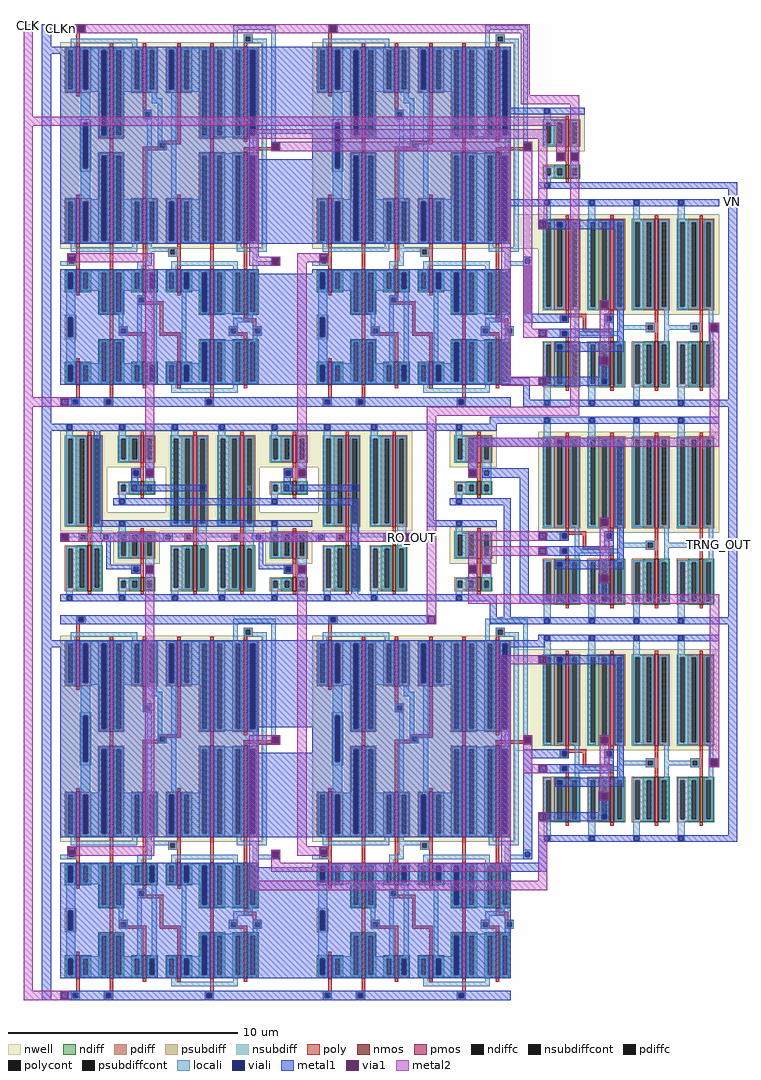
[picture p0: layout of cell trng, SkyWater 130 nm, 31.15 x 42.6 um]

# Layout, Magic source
magic
tech sky130A
<< nwell >>
rect 1170 2435 1210 2440
rect 1985 1965 2085 2125
rect 1985 1540 2085 1690
rect 1965 -651 2087 -210
<< poly >>
rect 70 2510 110 2520
rect 70 2490 80 2510
rect 100 2490 110 2510
rect 70 2480 110 2490
rect 1170 2510 1210 2520
rect 1170 2490 1180 2510
rect 1200 2490 1210 2510
rect 1170 2480 1210 2490
rect 70 2435 85 2480
rect 1170 2435 1185 2480
rect 2020 1255 2060 1465
rect 70 890 85 930
rect 1170 890 1185 930
rect 45 880 85 890
rect 45 860 55 880
rect 75 860 85 880
rect 45 850 85 860
rect 1145 880 1185 890
rect 1145 860 1155 880
rect 1175 860 1185 880
rect 1145 850 1185 860
rect 70 -70 110 -60
rect 70 -90 80 -70
rect 100 -90 110 -70
rect 70 -100 110 -90
rect 1170 -70 1210 -60
rect 1170 -90 1180 -70
rect 1200 -90 1210 -70
rect 1170 -100 1210 -90
rect 70 -155 85 -100
rect 1170 -155 1185 -100
rect 70 -1700 85 -1660
rect 1170 -1700 1185 -1660
rect 45 -1710 85 -1700
rect 45 -1730 55 -1710
rect 75 -1730 85 -1710
rect 45 -1740 85 -1730
rect 1145 -1710 1185 -1700
rect 1145 -1730 1155 -1710
rect 1175 -1730 1185 -1710
rect 1145 -1740 1185 -1730
<< polycont >>
rect 80 2490 100 2510
rect 1180 2490 1200 2510
rect 55 860 75 880
rect 1155 860 1175 880
rect 80 -90 100 -70
rect 1180 -90 1200 -70
rect 55 -1730 75 -1710
rect 1155 -1730 1175 -1710
<< locali >>
rect 70 2510 110 2520
rect 70 2490 80 2510
rect 100 2490 110 2510
rect 70 2480 110 2490
rect 1170 2510 1210 2520
rect 1170 2490 1180 2510
rect 1200 2490 1210 2510
rect 1170 2480 1210 2490
rect 1170 2435 1210 2455
rect 920 1495 960 1505
rect 920 1475 930 1495
rect 950 1475 960 1495
rect 2020 1495 2060 1505
rect 920 1465 960 1475
rect 2020 1475 2030 1495
rect 2050 1475 2060 1495
rect 2020 1255 2060 1475
rect 45 880 85 890
rect 45 860 55 880
rect 75 860 85 880
rect 45 850 85 860
rect 1145 880 1185 890
rect 1145 860 1155 880
rect 1175 860 1185 880
rect 1145 850 1185 860
rect 70 -70 110 -60
rect 70 -90 80 -70
rect 100 -90 110 -70
rect 70 -100 110 -90
rect 1170 -70 1210 -60
rect 1170 -90 1180 -70
rect 1200 -90 1210 -70
rect 1170 -100 1210 -90
rect 920 -1095 960 -1085
rect 920 -1115 930 -1095
rect 950 -1115 960 -1095
rect 2020 -1095 2060 -1085
rect 920 -1125 960 -1115
rect 2020 -1115 2030 -1095
rect 2050 -1115 2060 -1095
rect 2020 -1125 2060 -1115
rect 45 -1710 85 -1700
rect 45 -1730 55 -1710
rect 75 -1730 85 -1710
rect 45 -1740 85 -1730
rect 1145 -1710 1185 -1700
rect 1145 -1730 1155 -1710
rect 1175 -1730 1185 -1710
rect 1145 -1740 1185 -1730
<< viali >>
rect 80 2490 100 2510
rect 1180 2490 1200 2510
rect 930 1975 950 1995
rect 2030 1975 2050 1995
rect 40 1486 60 1505
rect 930 1475 950 1495
rect 1140 1485 1160 1505
rect 2030 1475 2050 1495
rect 55 860 75 880
rect 1155 860 1175 880
rect 80 -90 100 -70
rect 1180 -90 1200 -70
rect 930 -615 950 -595
rect 2030 -615 2050 -595
rect 40 -1104 60 -1085
rect 930 -1115 950 -1095
rect 1140 -1105 1160 -1085
rect 2030 -1115 2050 -1095
rect 55 -1730 75 -1710
rect 1155 -1730 1175 -1710
<< metal1 >>
rect -80 2420 -40 2520
rect 70 2515 110 2520
rect 70 2485 75 2515
rect 105 2485 110 2515
rect 70 2480 110 2485
rect 1170 2515 1210 2520
rect 1170 2485 1175 2515
rect 1205 2485 1210 2515
rect 1170 2480 1210 2485
rect -80 2390 0 2420
rect -80 775 -40 2390
rect 865 2040 1100 2420
rect 1965 2125 2085 2155
rect 920 2000 960 2005
rect 920 1970 925 2000
rect 955 1970 960 2000
rect 920 1965 960 1970
rect 2020 2000 2060 2005
rect 2020 1970 2025 2000
rect 2055 1970 2060 2000
rect 2020 1965 2060 1970
rect 865 1560 1100 1930
rect 2290 1800 2955 1830
rect 1962 1725 2112 1755
rect 30 1515 70 1520
rect 30 1484 35 1515
rect 65 1484 70 1515
rect 1130 1515 1170 1520
rect 30 1480 70 1484
rect 920 1500 960 1505
rect 920 1470 925 1500
rect 955 1470 960 1500
rect 1130 1485 1135 1515
rect 1165 1485 1170 1515
rect 1130 1480 1170 1485
rect 2020 1495 2060 1505
rect 920 1465 960 1470
rect 2020 1475 2030 1495
rect 2050 1475 2060 1495
rect 865 945 1100 1430
rect 2020 1255 2060 1475
rect 2020 1215 2085 1255
rect 1965 945 2050 975
rect 45 880 85 890
rect 45 860 55 880
rect 75 860 85 880
rect 45 850 85 860
rect 865 850 1100 890
rect 1145 880 1185 890
rect 1145 860 1155 880
rect 1175 860 1185 880
rect 1145 850 1185 860
rect 2020 880 2050 945
rect 2915 880 2955 1800
rect 2020 850 2085 880
rect 2110 850 2180 880
rect 2875 850 2955 880
rect 1875 775 2085 805
rect -80 745 0 775
rect 1535 745 1700 775
rect -80 -170 -40 745
rect 1600 355 1630 745
rect 1780 675 2085 715
rect 1780 580 1820 675
rect 1880 540 2045 580
rect 1905 420 1965 450
rect 1600 325 1700 355
rect 1535 0 1700 30
rect 0 -65 1640 -60
rect 0 -70 1605 -65
rect 0 -90 80 -70
rect 100 -90 1180 -70
rect 1200 -90 1605 -70
rect 0 -95 1605 -90
rect 1635 -95 1640 -65
rect 0 -100 1640 -95
rect 1875 -70 1905 0
rect 1935 -70 1965 420
rect 2005 30 2045 540
rect 2005 -10 2090 30
rect 2915 -70 2955 850
rect 1875 -100 2085 -70
rect 2875 -100 2955 -70
rect -80 -200 0 -170
rect -80 -1740 -40 -200
rect 865 -550 1100 -170
rect 1965 -200 2115 -170
rect 920 -590 960 -585
rect 920 -620 925 -590
rect 955 -620 960 -590
rect 920 -625 960 -620
rect 2020 -590 2060 -585
rect 2020 -620 2025 -590
rect 2055 -620 2060 -590
rect 2020 -625 2060 -620
rect 865 -1030 1100 -660
rect 2020 -685 2085 -645
rect 30 -1075 70 -1070
rect 30 -1106 35 -1075
rect 65 -1106 70 -1075
rect 1130 -1075 1170 -1070
rect 30 -1110 70 -1106
rect 920 -1090 960 -1085
rect 920 -1120 925 -1090
rect 955 -1120 960 -1090
rect 1130 -1105 1135 -1075
rect 1165 -1105 1170 -1075
rect 1130 -1110 1170 -1105
rect 2020 -1095 2060 -685
rect 2915 -1020 2955 -100
rect 2875 -1050 2955 -1020
rect 920 -1125 960 -1120
rect 2020 -1115 2030 -1095
rect 2050 -1115 2060 -1095
rect 2020 -1125 2060 -1115
rect 2085 -1140 2125 -1050
rect 865 -1645 1100 -1160
rect 1965 -1180 2125 -1140
rect 45 -1710 85 -1700
rect 45 -1730 55 -1710
rect 75 -1730 85 -1710
rect 45 -1740 85 -1730
rect 865 -1740 1100 -1700
rect 1145 -1710 1185 -1700
rect 1145 -1730 1155 -1710
rect 1175 -1730 1185 -1710
rect 1145 -1740 1185 -1730
<< via1 >>
rect 75 2510 105 2515
rect 75 2490 80 2510
rect 80 2490 100 2510
rect 100 2490 105 2510
rect 75 2485 105 2490
rect 1175 2510 1205 2515
rect 1175 2490 1180 2510
rect 1180 2490 1200 2510
rect 1200 2490 1205 2510
rect 1175 2485 1205 2490
rect 925 1995 955 2000
rect 925 1975 930 1995
rect 930 1975 950 1995
rect 950 1975 955 1995
rect 925 1970 955 1975
rect 2025 1995 2055 2000
rect 2025 1975 2030 1995
rect 2030 1975 2050 1995
rect 2050 1975 2055 1995
rect 2025 1970 2055 1975
rect 2170 1925 2200 1955
rect 2230 1925 2260 1955
rect 2090 1630 2120 1660
rect 35 1505 65 1515
rect 35 1486 40 1505
rect 40 1486 60 1505
rect 60 1486 65 1505
rect 35 1484 65 1486
rect 925 1495 955 1500
rect 925 1475 930 1495
rect 930 1475 950 1495
rect 950 1475 955 1495
rect 925 1470 955 1475
rect 1135 1505 1165 1515
rect 1135 1485 1140 1505
rect 1140 1485 1160 1505
rect 1160 1485 1165 1505
rect 2090 1155 2120 1185
rect 2840 1180 2870 1210
rect 2090 945 2120 975
rect 5 855 35 885
rect 375 545 405 575
rect 1040 545 1070 575
rect 1785 545 1815 575
rect 1500 265 1530 295
rect 375 125 405 155
rect 1040 125 1070 155
rect 1785 125 1815 155
rect 1845 125 1875 155
rect 1605 -95 1635 -65
rect 2090 270 2120 300
rect 2090 205 2120 235
rect 2840 230 2870 260
rect 2090 -270 2120 -240
rect 925 -595 955 -590
rect 925 -615 930 -595
rect 930 -615 950 -595
rect 950 -615 955 -595
rect 925 -620 955 -615
rect 2025 -595 2055 -590
rect 2025 -615 2030 -595
rect 2030 -615 2050 -595
rect 2050 -615 2055 -595
rect 2025 -620 2055 -615
rect 35 -1085 65 -1075
rect 35 -1104 40 -1085
rect 40 -1104 60 -1085
rect 60 -1104 65 -1085
rect 35 -1106 65 -1104
rect 925 -1095 955 -1090
rect 925 -1115 930 -1095
rect 930 -1115 950 -1095
rect 950 -1115 955 -1095
rect 925 -1120 955 -1115
rect 1135 -1085 1165 -1075
rect 1135 -1105 1140 -1085
rect 1140 -1105 1160 -1085
rect 1160 -1105 1165 -1085
rect 2090 -745 2120 -715
rect 2840 -720 2870 -690
rect 2090 -955 2120 -925
rect 5 -1735 35 -1705
<< metal2 >>
rect -160 2115 -120 2520
rect 0 2515 2050 2520
rect 0 2485 75 2515
rect 105 2485 1175 2515
rect 1205 2485 2050 2515
rect 0 2480 2050 2485
rect 2010 2210 2050 2480
rect 2010 2170 2265 2210
rect -160 2075 2205 2115
rect -160 890 -120 2075
rect 825 2020 2125 2060
rect 30 1515 410 1520
rect 30 1484 35 1515
rect 65 1484 410 1515
rect 30 1480 410 1484
rect -160 885 40 890
rect -160 855 5 885
rect 35 855 40 885
rect -160 850 40 855
rect -160 -1700 -120 850
rect 370 575 410 1480
rect 825 1505 865 2020
rect 920 2000 1965 2005
rect 920 1970 925 2000
rect 955 1970 1965 2000
rect 920 1965 1965 1970
rect 1035 1515 1170 1520
rect 825 1500 960 1505
rect 825 1470 925 1500
rect 955 1470 960 1500
rect 825 1465 960 1470
rect 1035 1485 1135 1515
rect 1165 1485 1170 1515
rect 1035 1480 1170 1485
rect 370 545 375 575
rect 405 545 410 575
rect 370 540 410 545
rect 1035 575 1075 1480
rect 1925 980 1965 1965
rect 2020 2000 2060 2005
rect 2020 1970 2025 2000
rect 2055 1970 2060 2000
rect 2020 1190 2060 1970
rect 2085 1660 2125 2020
rect 2165 1955 2205 2075
rect 2165 1925 2170 1955
rect 2200 1925 2205 1955
rect 2165 1920 2205 1925
rect 2225 1955 2265 2170
rect 2225 1925 2230 1955
rect 2260 1925 2265 1955
rect 2085 1630 2090 1660
rect 2120 1630 2125 1660
rect 2085 1625 2125 1630
rect 2020 1185 2125 1190
rect 2020 1155 2090 1185
rect 2120 1155 2125 1185
rect 2020 1150 2125 1155
rect 1925 975 2125 980
rect 1925 945 2090 975
rect 2120 945 2125 975
rect 1925 940 2125 945
rect 2225 850 2265 1925
rect 2830 1210 2875 1215
rect 2830 1180 2840 1210
rect 2870 1180 2875 1210
rect 2830 1175 2875 1180
rect 1035 545 1040 575
rect 1070 545 1075 575
rect 1035 540 1075 545
rect 1600 810 2265 850
rect 1495 295 1535 300
rect 1495 265 1500 295
rect 1530 265 1535 295
rect 1495 260 1535 265
rect 370 155 410 160
rect 370 125 375 155
rect 405 125 410 155
rect 370 -1070 410 125
rect 1035 155 1075 160
rect 1035 125 1040 155
rect 1070 125 1075 155
rect 30 -1075 410 -1070
rect 30 -1106 35 -1075
rect 65 -1106 410 -1075
rect 30 -1110 410 -1106
rect 825 -590 960 -585
rect 825 -620 925 -590
rect 955 -620 960 -590
rect 825 -625 960 -620
rect 825 -1220 865 -625
rect 1035 -1070 1075 125
rect 1600 -65 1640 810
rect 2835 715 2875 1175
rect 1780 675 2875 715
rect 1780 575 1820 675
rect 1780 545 1785 575
rect 1815 545 1820 575
rect 1780 540 1820 545
rect 1780 300 2125 305
rect 1780 270 2090 300
rect 2120 270 2125 300
rect 1780 265 2125 270
rect 1780 155 1820 265
rect 2830 260 2875 265
rect 1780 125 1785 155
rect 1815 125 1820 155
rect 1780 30 1820 125
rect 1840 235 2125 240
rect 1840 205 2090 235
rect 2120 205 2125 235
rect 2830 230 2840 260
rect 2870 230 2875 260
rect 2830 225 2875 230
rect 1840 200 2125 205
rect 1840 155 1880 200
rect 1840 125 1845 155
rect 1875 125 1880 155
rect 1840 120 1880 125
rect 1780 -10 2875 30
rect 1600 -95 1605 -65
rect 1635 -95 1640 -65
rect 1600 -100 1640 -95
rect 1925 -240 2125 -235
rect 1925 -270 2090 -240
rect 2120 -270 2125 -240
rect 1925 -275 2125 -270
rect 1035 -1075 1170 -1070
rect 920 -1090 960 -1085
rect 920 -1120 925 -1090
rect 955 -1120 960 -1090
rect 1035 -1105 1135 -1075
rect 1165 -1105 1170 -1075
rect 1035 -1110 1170 -1105
rect 920 -1140 960 -1120
rect 1925 -1140 1965 -275
rect 2020 -590 2060 -585
rect 2020 -620 2025 -590
rect 2055 -620 2060 -590
rect 2020 -710 2060 -620
rect 2835 -685 2875 -10
rect 2830 -690 2875 -685
rect 2020 -715 2125 -710
rect 2020 -745 2090 -715
rect 2120 -745 2125 -715
rect 2830 -720 2840 -690
rect 2870 -720 2875 -690
rect 2830 -725 2875 -720
rect 2020 -750 2125 -745
rect 920 -1180 1965 -1140
rect 2085 -925 2125 -920
rect 2085 -955 2090 -925
rect 2120 -955 2125 -925
rect 2085 -1220 2125 -955
rect 825 -1260 2125 -1220
rect -160 -1705 40 -1700
rect -160 -1735 5 -1705
rect 35 -1735 40 -1705
rect -160 -1740 40 -1735
use dff  dff_0
transform 1 0 70 0 1 1560
box -70 -710 890 955
use dff  dff_1
transform 1 0 1170 0 1 1560
box -70 -710 890 955
use dff  dff_2
transform 1 0 70 0 1 -1030
box -70 -710 890 955
use dff  dff_3
transform 1 0 1170 0 1 -1030
box -70 -710 890 955
use inv_tap  inv_tap_0
transform 1 0 1430 0 1 -395
box 270 395 475 750
use inv_tap  inv_tap_1
transform 1 0 1430 0 1 25
box 270 395 475 750
use inv_tap  inv_tap_2
transform 1 0 1815 0 1 1405
box 270 395 475 750
use ro  ro_0
transform 1 0 0 0 1 0
box 0 0 1535 775
use xor  xor_0
transform 1 0 2155 0 1 320
box -70 -420 720 485
use xor  xor_1
transform 1 0 2155 0 1 1270
box -70 -420 720 485
use xor  xor_2
transform 1 0 2155 0 1 -630
box -70 -420 720 485
<< labels >>
rlabel metal2 -141 2514 -141 2514 1 CLK
port 1 n
rlabel metal1 -62 2515 -62 2515 1 VP
port 2 n
rlabel metal2 1532 280 1532 280 1 RO_OUT
port 5 n
rlabel metal2 3 2500 3 2500 1 CLKn
port 6 n
rlabel metal1 2934 1747 2934 1747 1 VN
port 3 n
rlabel metal2 2873 246 2873 246 1 TRNG_OUT
port 4 n
<< end >>

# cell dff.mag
magic
tech sky130A
<< nwell >>
rect -70 -20 815 880
<< nmos >>
rect 0 -210 15 -110
rect 145 -310 160 -110
rect 290 -210 305 -110
rect 440 -210 455 -110
rect 585 -310 600 -110
rect 730 -310 745 -110
rect 0 -615 15 -515
rect 145 -615 160 -415
rect 290 -615 305 -515
rect 440 -615 455 -515
rect 585 -615 600 -415
rect 730 -615 745 -415
<< pmos >>
rect 0 660 15 860
rect 145 460 160 860
rect 290 660 305 860
rect 440 660 455 860
rect 585 460 600 860
rect 730 460 745 860
rect 0 0 15 200
rect 145 0 160 400
rect 290 0 305 200
rect 440 0 455 200
rect 585 0 600 400
rect 730 0 745 400
<< ndiff >>
rect -50 -125 0 -110
rect -50 -195 -35 -125
rect -15 -195 0 -125
rect -50 -210 0 -195
rect 15 -125 65 -110
rect 15 -195 30 -125
rect 50 -195 65 -125
rect 15 -210 65 -195
rect 95 -125 145 -110
rect 95 -295 110 -125
rect 130 -295 145 -125
rect 95 -310 145 -295
rect 160 -125 210 -110
rect 160 -295 175 -125
rect 195 -295 210 -125
rect 240 -125 290 -110
rect 240 -195 255 -125
rect 275 -195 290 -125
rect 240 -210 290 -195
rect 305 -125 355 -110
rect 305 -195 320 -125
rect 340 -195 355 -125
rect 305 -210 355 -195
rect 390 -125 440 -110
rect 390 -195 405 -125
rect 425 -195 440 -125
rect 390 -210 440 -195
rect 455 -125 505 -110
rect 455 -195 470 -125
rect 490 -195 505 -125
rect 455 -210 505 -195
rect 535 -125 585 -110
rect 160 -310 210 -295
rect 535 -295 550 -125
rect 570 -295 585 -125
rect 535 -310 585 -295
rect 600 -125 650 -110
rect 600 -295 615 -125
rect 635 -295 650 -125
rect 600 -310 650 -295
rect 680 -125 730 -110
rect 680 -295 695 -125
rect 715 -295 730 -125
rect 680 -310 730 -295
rect 745 -125 795 -110
rect 745 -295 760 -125
rect 780 -295 795 -125
rect 745 -310 795 -295
rect 95 -430 145 -415
rect -50 -530 0 -515
rect -50 -600 -35 -530
rect -15 -600 0 -530
rect -50 -615 0 -600
rect 15 -530 65 -515
rect 15 -600 30 -530
rect 50 -600 65 -530
rect 15 -615 65 -600
rect 95 -600 110 -430
rect 130 -600 145 -430
rect 95 -615 145 -600
rect 160 -430 210 -415
rect 160 -600 175 -430
rect 195 -600 210 -430
rect 535 -430 585 -415
rect 160 -615 210 -600
rect 240 -530 290 -515
rect 240 -600 255 -530
rect 275 -600 290 -530
rect 240 -615 290 -600
rect 305 -530 355 -515
rect 305 -600 320 -530
rect 340 -600 355 -530
rect 305 -615 355 -600
rect 390 -530 440 -515
rect 390 -600 405 -530
rect 425 -600 440 -530
rect 390 -615 440 -600
rect 455 -530 505 -515
rect 455 -600 470 -530
rect 490 -600 505 -530
rect 455 -615 505 -600
rect 535 -600 550 -430
rect 570 -600 585 -430
rect 535 -615 585 -600
rect 600 -430 650 -415
rect 600 -600 615 -430
rect 635 -600 650 -430
rect 600 -615 650 -600
rect 680 -430 730 -415
rect 680 -600 695 -430
rect 715 -600 730 -430
rect 680 -615 730 -600
rect 745 -430 795 -415
rect 745 -600 760 -430
rect 780 -600 795 -430
rect 745 -615 795 -600
<< pdiff >>
rect -50 845 0 860
rect -50 675 -35 845
rect -15 675 0 845
rect -50 660 0 675
rect 15 845 65 860
rect 15 675 30 845
rect 50 675 65 845
rect 15 660 65 675
rect 95 845 145 860
rect 95 475 110 845
rect 130 475 145 845
rect 95 460 145 475
rect 160 845 210 860
rect 160 475 175 845
rect 195 475 210 845
rect 240 845 290 860
rect 240 675 255 845
rect 275 675 290 845
rect 240 660 290 675
rect 305 845 355 860
rect 305 675 320 845
rect 340 675 355 845
rect 305 660 355 675
rect 390 845 440 860
rect 390 675 405 845
rect 425 675 440 845
rect 390 660 440 675
rect 455 845 505 860
rect 455 675 470 845
rect 490 675 505 845
rect 455 660 505 675
rect 535 845 585 860
rect 160 460 210 475
rect 535 475 550 845
rect 570 475 585 845
rect 535 460 585 475
rect 600 845 650 860
rect 600 475 615 845
rect 635 475 650 845
rect 600 460 650 475
rect 680 845 730 860
rect 680 475 695 845
rect 715 475 730 845
rect 680 460 730 475
rect 745 845 795 860
rect 745 475 760 845
rect 780 475 795 845
rect 745 460 795 475
rect 95 385 145 400
rect -50 185 0 200
rect -50 15 -35 185
rect -15 15 0 185
rect -50 0 0 15
rect 15 185 65 200
rect 15 15 30 185
rect 50 15 65 185
rect 15 0 65 15
rect 95 15 110 385
rect 130 15 145 385
rect 95 0 145 15
rect 160 385 210 400
rect 160 15 175 385
rect 195 15 210 385
rect 535 385 585 400
rect 160 0 210 15
rect 240 185 290 200
rect 240 15 255 185
rect 275 15 290 185
rect 240 0 290 15
rect 305 185 355 200
rect 305 15 320 185
rect 340 15 355 185
rect 305 0 355 15
rect 390 185 440 200
rect 390 15 405 185
rect 425 15 440 185
rect 390 0 440 15
rect 455 185 505 200
rect 455 15 470 185
rect 490 15 505 185
rect 455 0 505 15
rect 535 15 550 385
rect 570 15 585 385
rect 535 0 585 15
rect 600 385 650 400
rect 600 15 615 385
rect 635 15 650 385
rect 600 0 650 15
rect 680 385 730 400
rect 680 15 695 385
rect 715 15 730 385
rect 680 0 730 15
rect 745 385 795 400
rect 745 15 760 385
rect 780 15 795 385
rect 745 0 795 15
<< ndiffc >>
rect -35 -195 -15 -125
rect 30 -195 50 -125
rect 110 -295 130 -125
rect 175 -295 195 -125
rect 255 -195 275 -125
rect 320 -195 340 -125
rect 405 -195 425 -125
rect 470 -195 490 -125
rect 550 -295 570 -125
rect 615 -295 635 -125
rect 695 -295 715 -125
rect 760 -295 780 -125
rect -35 -600 -15 -530
rect 30 -600 50 -530
rect 110 -600 130 -430
rect 175 -600 195 -430
rect 255 -600 275 -530
rect 320 -600 340 -530
rect 405 -600 425 -530
rect 470 -600 490 -530
rect 550 -600 570 -430
rect 615 -600 635 -430
rect 695 -600 715 -430
rect 760 -600 780 -430
<< pdiffc >>
rect -35 675 -15 845
rect 30 675 50 845
rect 110 475 130 845
rect 175 475 195 845
rect 255 675 275 845
rect 320 675 340 845
rect 405 675 425 845
rect 470 675 490 845
rect 550 475 570 845
rect 615 475 635 845
rect 695 475 715 845
rect 760 475 780 845
rect -35 15 -15 185
rect 30 15 50 185
rect 110 15 130 385
rect 175 15 195 385
rect 255 15 275 185
rect 320 15 340 185
rect 405 15 425 185
rect 470 15 490 185
rect 550 15 570 385
rect 615 15 635 385
rect 695 15 715 385
rect 760 15 780 385
<< psubdiff >>
rect -50 -320 0 -310
rect -50 -405 -35 -320
rect -15 -405 0 -320
rect -50 -415 0 -405
<< nsubdiff >>
rect 15 530 65 545
rect 15 330 30 530
rect 50 330 65 530
rect 15 315 65 330
<< psubdiffcont >>
rect -35 -405 -15 -320
<< nsubdiffcont >>
rect 30 330 50 530
<< poly >>
rect 730 905 770 915
rect 730 885 740 905
rect 760 885 770 905
rect 730 875 770 885
rect 0 860 15 875
rect 145 860 160 875
rect 290 860 305 875
rect 440 860 455 875
rect 585 860 600 875
rect 730 860 745 875
rect 0 645 15 660
rect 290 585 305 660
rect 290 575 330 585
rect 290 555 300 575
rect 320 555 330 575
rect 290 545 330 555
rect 145 400 160 460
rect 440 450 455 660
rect 355 440 455 450
rect 355 425 365 440
rect 290 420 365 425
rect 385 435 455 440
rect 385 420 395 435
rect 290 410 395 420
rect 0 200 15 215
rect 290 200 305 410
rect 585 400 600 460
rect 730 445 745 460
rect 850 435 890 445
rect 850 423 860 435
rect 730 415 860 423
rect 880 415 890 435
rect 730 408 890 415
rect 730 400 745 408
rect 850 405 890 408
rect 440 200 455 215
rect 0 -55 15 0
rect -40 -65 15 -55
rect -40 -85 -30 -65
rect -10 -85 15 -65
rect -40 -95 15 -85
rect 0 -110 15 -95
rect 145 -110 160 0
rect 290 -110 305 0
rect 440 -15 455 0
rect 400 -25 455 -15
rect 400 -45 410 -25
rect 430 -45 455 -25
rect 400 -55 455 -45
rect 440 -110 455 -55
rect 585 -110 600 0
rect 730 -110 745 0
rect 0 -225 15 -210
rect 290 -225 305 -210
rect 440 -225 455 -210
rect 265 -235 305 -225
rect 265 -255 275 -235
rect 295 -250 305 -235
rect 295 -255 380 -250
rect 265 -265 380 -255
rect 145 -415 160 -310
rect 185 -370 225 -360
rect 185 -390 195 -370
rect 215 -385 225 -370
rect 365 -385 380 -265
rect 215 -390 305 -385
rect 185 -400 305 -390
rect 365 -400 455 -385
rect 0 -515 15 -500
rect 290 -515 305 -400
rect 440 -515 455 -400
rect 585 -415 600 -310
rect 730 -325 745 -310
rect 730 -340 785 -325
rect 770 -360 785 -340
rect 665 -370 705 -360
rect 665 -390 675 -370
rect 695 -385 705 -370
rect 770 -370 810 -360
rect 695 -390 745 -385
rect 665 -400 745 -390
rect 770 -390 780 -370
rect 800 -390 810 -370
rect 770 -400 810 -390
rect 730 -415 745 -400
rect 0 -630 15 -615
rect 145 -670 160 -615
rect 290 -630 305 -615
rect 440 -630 455 -615
rect 585 -670 600 -615
rect 730 -630 745 -615
rect 120 -680 160 -670
rect 120 -700 130 -680
rect 150 -700 160 -680
rect 120 -710 160 -700
rect 560 -680 600 -670
rect 560 -700 570 -680
rect 590 -700 600 -680
rect 560 -710 600 -700
<< polycont >>
rect 740 885 760 905
rect 300 555 320 575
rect 365 420 385 440
rect 860 415 880 435
rect -30 -85 -10 -65
rect 410 -45 430 -25
rect 275 -255 295 -235
rect 195 -390 215 -370
rect 675 -390 695 -370
rect 780 -390 800 -370
rect 130 -700 150 -680
rect 570 -700 590 -680
<< locali >>
rect 685 935 870 955
rect -25 875 265 895
rect -25 855 -5 875
rect 245 855 265 875
rect 685 855 705 935
rect 730 905 770 915
rect 730 885 740 905
rect 760 895 770 905
rect 760 885 830 895
rect 730 875 830 885
rect -45 845 -5 855
rect -45 675 -35 845
rect -15 675 -5 845
rect -45 665 -5 675
rect 20 845 140 855
rect 20 675 30 845
rect 50 675 110 845
rect 20 665 110 675
rect 20 530 60 665
rect 20 330 30 530
rect 50 330 60 530
rect 100 475 110 665
rect 130 475 140 845
rect 100 465 140 475
rect 165 845 285 855
rect 165 475 175 845
rect 195 675 255 845
rect 275 675 285 845
rect 195 665 285 675
rect 310 845 350 855
rect 310 675 320 845
rect 340 675 350 845
rect 310 665 350 675
rect 395 845 435 855
rect 395 675 405 845
rect 425 675 435 845
rect 395 665 435 675
rect 460 845 580 855
rect 460 675 470 845
rect 490 675 550 845
rect 460 665 550 675
rect 195 475 205 665
rect 330 635 350 665
rect 330 615 375 635
rect 290 575 330 585
rect 290 555 300 575
rect 320 555 330 575
rect 290 545 330 555
rect 165 465 205 475
rect 20 195 60 330
rect 100 385 140 395
rect 100 195 110 385
rect -45 185 -5 195
rect -45 15 -35 185
rect -15 15 -5 185
rect -45 5 -5 15
rect 20 185 110 195
rect 20 15 30 185
rect 50 15 110 185
rect 130 15 140 385
rect 20 5 140 15
rect 165 385 205 395
rect 165 15 175 385
rect 195 195 205 385
rect 310 195 330 545
rect 355 450 375 615
rect 355 440 395 450
rect 355 420 365 440
rect 385 420 395 440
rect 355 410 395 420
rect 415 195 435 665
rect 540 475 550 665
rect 570 475 580 845
rect 540 465 580 475
rect 605 845 725 855
rect 605 475 615 845
rect 635 475 695 845
rect 715 475 725 845
rect 605 465 725 475
rect 750 845 790 855
rect 750 475 760 845
rect 780 475 790 845
rect 750 465 790 475
rect 770 395 790 465
rect 540 385 580 395
rect 540 195 550 385
rect 195 185 285 195
rect 195 15 255 185
rect 275 15 285 185
rect 165 5 285 15
rect 310 185 350 195
rect 310 15 320 185
rect 340 15 350 185
rect 310 5 350 15
rect 395 185 435 195
rect 395 15 405 185
rect 425 15 435 185
rect 395 5 435 15
rect 460 185 550 195
rect 460 15 470 185
rect 490 15 550 185
rect 570 15 580 385
rect 460 5 580 15
rect 605 385 725 395
rect 605 15 615 385
rect 635 15 695 385
rect 715 15 725 385
rect 605 5 725 15
rect 750 385 790 395
rect 750 15 760 385
rect 780 15 790 385
rect 750 5 790 15
rect -25 -15 -5 5
rect 245 -15 265 5
rect -25 -35 265 -15
rect 310 -15 330 5
rect 700 -15 720 5
rect 810 -15 830 875
rect 850 445 870 935
rect 850 435 890 445
rect 850 415 860 435
rect 880 415 890 435
rect 850 405 890 415
rect 310 -25 440 -15
rect 310 -35 410 -25
rect -40 -65 0 -55
rect -40 -75 -30 -65
rect -70 -85 -30 -75
rect -10 -85 0 -65
rect 310 -75 330 -35
rect 400 -45 410 -35
rect 430 -45 440 -25
rect 700 -35 830 -15
rect 400 -55 440 -45
rect 770 -75 790 -35
rect -70 -95 0 -85
rect 265 -95 330 -75
rect 415 -95 705 -75
rect 265 -115 285 -95
rect 415 -115 435 -95
rect 685 -115 705 -95
rect 770 -95 890 -75
rect 770 -115 790 -95
rect -45 -125 -5 -115
rect -45 -195 -35 -125
rect -15 -195 -5 -125
rect -45 -320 -5 -195
rect 20 -125 140 -115
rect 20 -195 30 -125
rect 50 -195 110 -125
rect 20 -205 110 -195
rect 100 -295 110 -205
rect 130 -295 140 -125
rect 100 -305 140 -295
rect 165 -125 285 -115
rect 165 -295 175 -125
rect 195 -195 255 -125
rect 275 -195 285 -125
rect 195 -205 285 -195
rect 310 -125 350 -115
rect 310 -195 320 -125
rect 340 -195 350 -125
rect 310 -205 350 -195
rect 395 -125 435 -115
rect 395 -195 405 -125
rect 425 -195 435 -125
rect 395 -205 435 -195
rect 460 -125 580 -115
rect 460 -195 470 -125
rect 490 -195 550 -125
rect 460 -205 550 -195
rect 195 -295 205 -205
rect 165 -305 205 -295
rect -45 -405 -35 -320
rect -15 -405 -5 -320
rect 185 -360 205 -305
rect 265 -235 305 -225
rect 265 -255 275 -235
rect 295 -255 305 -235
rect 265 -265 305 -255
rect 185 -370 225 -360
rect 185 -390 195 -370
rect 215 -390 225 -370
rect 185 -400 225 -390
rect -45 -530 -5 -405
rect 100 -430 140 -420
rect 100 -520 110 -430
rect -45 -600 -35 -530
rect -15 -600 -5 -530
rect -45 -610 -5 -600
rect 20 -530 110 -520
rect 20 -600 30 -530
rect 50 -600 110 -530
rect 130 -600 140 -430
rect 20 -610 140 -600
rect 165 -430 205 -420
rect 165 -600 175 -430
rect 195 -520 205 -430
rect 265 -520 285 -265
rect 330 -520 350 -205
rect 460 -520 480 -205
rect 540 -295 550 -205
rect 570 -295 580 -125
rect 540 -305 580 -295
rect 605 -125 725 -115
rect 605 -295 615 -125
rect 635 -295 695 -125
rect 715 -295 725 -125
rect 605 -305 725 -295
rect 750 -125 790 -115
rect 750 -295 760 -125
rect 780 -295 790 -125
rect 750 -305 790 -295
rect 750 -322 770 -305
rect 685 -342 770 -322
rect 685 -360 705 -342
rect 665 -370 705 -360
rect 665 -390 675 -370
rect 695 -390 705 -370
rect 665 -400 705 -390
rect 770 -370 810 -360
rect 770 -390 780 -370
rect 800 -390 810 -370
rect 770 -400 810 -390
rect 770 -420 790 -400
rect 540 -430 580 -420
rect 540 -520 550 -430
rect 195 -530 285 -520
rect 195 -600 255 -530
rect 275 -600 285 -530
rect 165 -610 285 -600
rect 310 -530 350 -520
rect 310 -600 320 -530
rect 340 -600 350 -530
rect 310 -610 350 -600
rect 395 -530 435 -520
rect 395 -600 405 -530
rect 425 -600 435 -530
rect 395 -610 435 -600
rect 460 -530 550 -520
rect 460 -600 470 -530
rect 490 -600 550 -530
rect 570 -600 580 -430
rect 460 -610 580 -600
rect 605 -430 725 -420
rect 605 -600 615 -430
rect 635 -600 695 -430
rect 715 -600 725 -430
rect 605 -610 725 -600
rect 750 -430 790 -420
rect 750 -600 760 -430
rect 780 -600 790 -430
rect 750 -610 790 -600
rect 415 -630 435 -610
rect 685 -630 705 -610
rect 415 -650 705 -630
rect 120 -680 160 -670
rect 120 -700 130 -680
rect 150 -700 160 -680
rect 120 -710 160 -700
rect 560 -680 600 -670
rect 560 -700 570 -680
rect 590 -700 600 -680
rect 560 -710 600 -700
<< viali >>
rect 30 675 50 845
rect 30 330 50 530
rect 110 475 130 845
rect 405 675 425 845
rect 30 15 50 185
rect 110 15 130 385
rect 760 475 780 845
rect 405 15 425 185
rect 760 15 780 385
rect -35 -195 -15 -125
rect 320 -195 340 -125
rect 470 -195 490 -125
rect -35 -405 -15 -320
rect -35 -600 -15 -530
rect 550 -295 570 -125
rect 320 -600 340 -530
rect 470 -600 490 -530
rect 550 -600 570 -430
rect 130 -700 150 -680
rect 570 -700 590 -680
<< metal1 >>
rect -70 845 795 860
rect -70 675 30 845
rect 50 675 110 845
rect -70 530 110 675
rect -70 330 30 530
rect 50 475 110 530
rect 130 675 405 845
rect 425 675 760 845
rect 130 475 760 675
rect 780 475 795 845
rect 50 385 795 475
rect 50 330 110 385
rect -70 185 110 330
rect -70 15 30 185
rect 50 15 110 185
rect 130 185 760 385
rect 130 15 405 185
rect 425 15 760 185
rect 780 15 795 385
rect -70 0 795 15
rect -70 -125 795 -110
rect -70 -195 -35 -125
rect -15 -195 320 -125
rect 340 -195 470 -125
rect 490 -195 550 -125
rect -70 -295 550 -195
rect 570 -295 795 -125
rect -70 -320 795 -295
rect -70 -405 -35 -320
rect -15 -405 795 -320
rect -70 -430 795 -405
rect -70 -530 550 -430
rect -70 -600 -35 -530
rect -15 -600 320 -530
rect 340 -600 470 -530
rect 490 -600 550 -530
rect 570 -600 795 -430
rect -70 -615 795 -600
rect -70 -680 795 -670
rect -70 -700 130 -680
rect 150 -700 570 -680
rect 590 -700 795 -680
rect -70 -710 795 -700
<< labels >>
rlabel poly 7 647 8 647 1 Dn1
port 1 n
rlabel locali 887 425 887 425 1 Qn
port 2 n
rlabel locali 886 -86 886 -86 1 Q
port 3 n
rlabel locali -64 -85 -64 -85 1 D
port 4 n
rlabel poly 7 -504 7 -504 1 Dn2
port 5 n
rlabel metal1 -68 414 -67 416 3 VP
port 6 e
rlabel metal1 -66 -372 -65 -370 1 VN
port 7 n
rlabel metal1 -64 -690 -62 -689 1 CLK
port 8 n
<< end >>

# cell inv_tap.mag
magic
tech sky130A
<< nwell >>
rect 270 560 475 720
<< nmos >>
rect 390 440 405 500
<< pmos >>
rect 390 580 405 700
<< ndiff >>
rect 340 485 390 500
rect 340 455 355 485
rect 375 455 390 485
rect 340 440 390 455
rect 405 485 455 500
rect 405 455 420 485
rect 440 455 455 485
rect 405 440 455 455
<< pdiff >>
rect 340 685 390 700
rect 340 595 355 685
rect 375 595 390 685
rect 340 580 390 595
rect 405 685 455 700
rect 405 595 420 685
rect 440 595 455 685
rect 405 580 455 595
<< ndiffc >>
rect 355 455 375 485
rect 420 455 440 485
<< pdiffc >>
rect 355 595 375 685
rect 420 595 440 685
<< psubdiff >>
rect 290 485 340 500
rect 290 455 305 485
rect 325 455 340 485
rect 290 440 340 455
<< nsubdiff >>
rect 290 685 340 700
rect 290 595 305 685
rect 325 595 340 685
rect 290 580 340 595
<< psubdiffcont >>
rect 305 455 325 485
<< nsubdiffcont >>
rect 305 595 325 685
<< poly >>
rect 390 700 405 715
rect 390 555 405 580
rect 350 545 405 555
rect 350 525 360 545
rect 380 525 405 545
rect 350 515 405 525
rect 390 500 405 515
rect 390 425 405 440
<< polycont >>
rect 360 525 380 545
<< locali >>
rect 295 745 325 750
rect 295 725 300 745
rect 320 725 325 745
rect 295 695 325 725
rect 295 685 385 695
rect 295 595 305 685
rect 325 595 355 685
rect 375 595 385 685
rect 295 585 385 595
rect 410 685 450 695
rect 410 595 420 685
rect 440 595 450 685
rect 350 545 390 555
rect 350 525 360 545
rect 380 525 390 545
rect 350 515 390 525
rect 410 545 450 595
rect 410 525 420 545
rect 440 525 450 545
rect 295 485 385 495
rect 295 455 305 485
rect 325 455 355 485
rect 375 455 385 485
rect 295 445 385 455
rect 410 485 450 525
rect 410 455 420 485
rect 440 455 450 485
rect 410 445 450 455
rect 295 420 325 445
rect 295 400 300 420
rect 320 400 325 420
rect 295 395 325 400
<< viali >>
rect 300 725 320 745
rect 360 525 380 545
rect 420 525 440 545
rect 300 400 320 420
<< metal1 >>
rect 270 745 475 750
rect 270 725 300 745
rect 320 725 475 745
rect 270 720 475 725
rect 350 545 390 555
rect 350 525 360 545
rect 380 525 390 545
rect 350 515 390 525
rect 410 545 450 555
rect 410 525 420 545
rect 440 525 450 545
rect 410 515 450 525
rect 270 420 475 425
rect 270 400 300 420
rect 320 400 475 420
rect 270 395 475 400
<< labels >>
rlabel metal1 272 733 272 733 3 VP
port 5 e
rlabel metal1 272 409 273 409 3 VN
port 8 e
rlabel metal1 353 552 353 552 1 IN
port 9 n
rlabel metal1 448 552 448 552 1 OUT
port 10 n
<< end >>

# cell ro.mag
magic
tech sky130A
<< nwell >>
rect 205 585 230 745
rect 435 585 460 745
rect 870 585 895 745
rect 1100 585 1125 745
rect 205 325 460 390
rect 205 305 230 325
rect 435 305 460 325
rect 870 325 1125 390
rect 870 305 895 325
rect 1100 305 1125 325
<< locali >>
rect 815 485 835 505
rect 180 290 220 300
rect 180 270 190 290
rect 210 270 220 290
rect 180 260 220 270
rect 450 290 490 300
rect 450 270 460 290
rect 480 270 490 290
rect 450 260 490 270
rect 845 290 885 300
rect 845 270 855 290
rect 875 270 885 290
rect 845 260 885 270
rect 1115 290 1155 300
rect 1115 270 1125 290
rect 1145 270 1155 290
rect 1115 260 1155 270
<< viali >>
rect 610 485 630 505
rect 1275 485 1295 505
rect 10 270 30 290
rect 190 270 210 290
rect 460 270 480 290
rect 855 270 875 290
rect 1125 270 1145 290
rect 1505 270 1525 290
<< metal1 >>
rect 205 745 230 775
rect 435 745 460 775
rect 870 745 895 775
rect 1100 745 1125 775
rect 1515 745 1535 775
rect 145 355 175 745
rect 370 540 410 580
rect 1035 540 1075 580
rect 310 510 340 540
rect 975 510 1005 540
rect 310 505 640 510
rect 310 485 610 505
rect 630 485 640 505
rect 310 480 640 485
rect 975 505 1305 510
rect 975 485 1275 505
rect 1295 485 1305 505
rect 975 480 1305 485
rect 435 420 895 450
rect 1100 420 1300 450
rect 145 325 230 355
rect 435 325 895 355
rect 0 295 40 300
rect 0 265 5 295
rect 35 265 40 295
rect 175 290 490 300
rect 175 270 190 290
rect 210 270 460 290
rect 480 270 490 290
rect 835 290 1155 300
rect 835 270 855 290
rect 875 270 1125 290
rect 1145 270 1155 290
rect 0 260 40 265
rect 180 260 490 270
rect 845 260 1155 270
rect 200 160 220 260
rect 865 160 885 260
rect 200 140 340 160
rect 370 120 410 160
rect 865 140 975 160
rect 1035 120 1075 160
rect 1270 30 1300 420
rect 1495 295 1535 300
rect 1495 265 1500 295
rect 1530 265 1535 295
rect 1495 260 1535 265
rect 205 0 230 30
rect 435 0 460 30
rect 870 0 895 30
rect 1100 0 1125 30
rect 1515 0 1535 30
<< via1 >>
rect 5 290 35 295
rect 5 270 10 290
rect 10 270 30 290
rect 30 270 35 290
rect 5 265 35 270
rect 1500 290 1530 295
rect 1500 270 1505 290
rect 1505 270 1525 290
rect 1525 270 1530 290
rect 1500 265 1530 270
<< metal2 >>
rect 0 295 1535 300
rect 0 265 5 295
rect 35 265 1500 295
rect 1530 265 1535 295
rect 0 260 1535 265
use inv  inv_0
transform 1 0 70 0 1 25
box -70 -25 135 750
use inv  inv_1
transform 1 0 530 0 1 25
box -70 -25 135 750
use inv  inv_2
transform 1 0 735 0 1 25
box -70 -25 135 750
use inv  inv_3
transform 1 0 1195 0 1 25
box -70 -25 135 750
use inv  inv_4
transform 1 0 1400 0 1 25
box -70 -25 135 750
use inv_tap  inv_tap_0
transform 1 0 -40 0 1 -395
box 270 395 475 750
use inv_tap  inv_tap_1
transform 1 0 -40 0 1 25
box 270 395 475 750
use inv_tap  inv_tap_2
transform 1 0 625 0 1 -395
box 270 395 475 750
use inv_tap  inv_tap_3
transform 1 0 625 0 1 25
box 270 395 475 750
<< labels >>
rlabel metal1 1532 761 1532 762 1 VP
port 1 n
rlabel metal1 1531 14 1531 15 1 VN
port 2 n
rlabel metal2 1532 268 1532 269 1 RO_OUT
port 3 n
rlabel metal1 405 140 405 140 1 RO_TAP_1
port 4 n
rlabel metal1 405 560 405 560 1 RO_TAP_2
port 5 n
rlabel metal1 1070 139 1070 139 1 RO_TAP_3
port 6 n
rlabel metal1 1071 559 1071 559 1 RO_TAP_4
port 7 n
<< end >>

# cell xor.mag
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
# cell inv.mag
magic
tech sky130A
<< nwell >>
rect -70 280 135 720
<< nmos >>
rect 50 20 65 220
<< pmos >>
rect 50 300 65 700
<< ndiff >>
rect 0 205 50 220
rect 0 35 15 205
rect 35 35 50 205
rect 0 20 50 35
rect 65 205 115 220
rect 65 35 80 205
rect 100 35 115 205
rect 65 20 115 35
<< pdiff >>
rect 0 685 50 700
rect 0 315 15 685
rect 35 315 50 685
rect 0 300 50 315
rect 65 685 115 700
rect 65 315 80 685
rect 100 315 115 685
rect 65 300 115 315
<< ndiffc >>
rect 15 35 35 205
rect 80 35 100 205
<< pdiffc >>
rect 15 315 35 685
rect 80 315 100 685
<< psubdiff >>
rect -50 205 0 220
rect -50 35 -35 205
rect -15 35 0 205
rect -50 20 0 35
<< nsubdiff >>
rect -50 685 0 700
rect -50 315 -35 685
rect -15 315 0 685
rect -50 300 0 315
<< psubdiffcont >>
rect -35 35 -15 205
<< nsubdiffcont >>
rect -35 315 -15 685
<< poly >>
rect 50 700 65 715
rect 50 275 65 300
rect 10 265 65 275
rect 10 245 20 265
rect 40 245 65 265
rect 10 235 65 245
rect 50 220 65 235
rect 50 5 65 20
<< polycont >>
rect 20 245 40 265
<< locali >>
rect -45 745 -15 750
rect -45 725 -40 745
rect -20 725 -15 745
rect -45 695 -15 725
rect -45 685 45 695
rect -45 315 -35 685
rect -15 315 15 685
rect 35 315 45 685
rect -45 305 45 315
rect 70 685 110 695
rect 70 315 80 685
rect 100 315 110 685
rect 70 275 110 315
rect -70 265 50 275
rect -70 255 20 265
rect 10 245 20 255
rect 40 245 50 265
rect 10 235 50 245
rect 70 255 135 275
rect -45 205 45 215
rect -45 35 -35 205
rect -15 35 15 205
rect 35 35 45 205
rect -45 25 45 35
rect 70 205 110 255
rect 70 35 80 205
rect 100 35 110 205
rect 70 25 110 35
rect -45 0 -15 25
rect -45 -20 -40 0
rect -20 -20 -15 0
rect -45 -25 -15 -20
<< viali >>
rect -40 725 -20 745
rect -40 -20 -20 0
<< metal1 >>
rect -70 745 135 750
rect -70 725 -40 745
rect -20 725 135 745
rect -70 720 135 725
rect -70 0 135 5
rect -70 -20 -40 0
rect -20 -20 135 0
rect -70 -25 135 -20
<< labels >>
rlabel metal1 32 748 32 748 5 VP
port 1 s
rlabel metal1 34 -23 34 -23 1 VN
port 2 n
rlabel locali -67 265 -67 265 1 IN
port 3 n
rlabel locali 133 266 133 266 7 OUT
port 4 w
<< end >>
